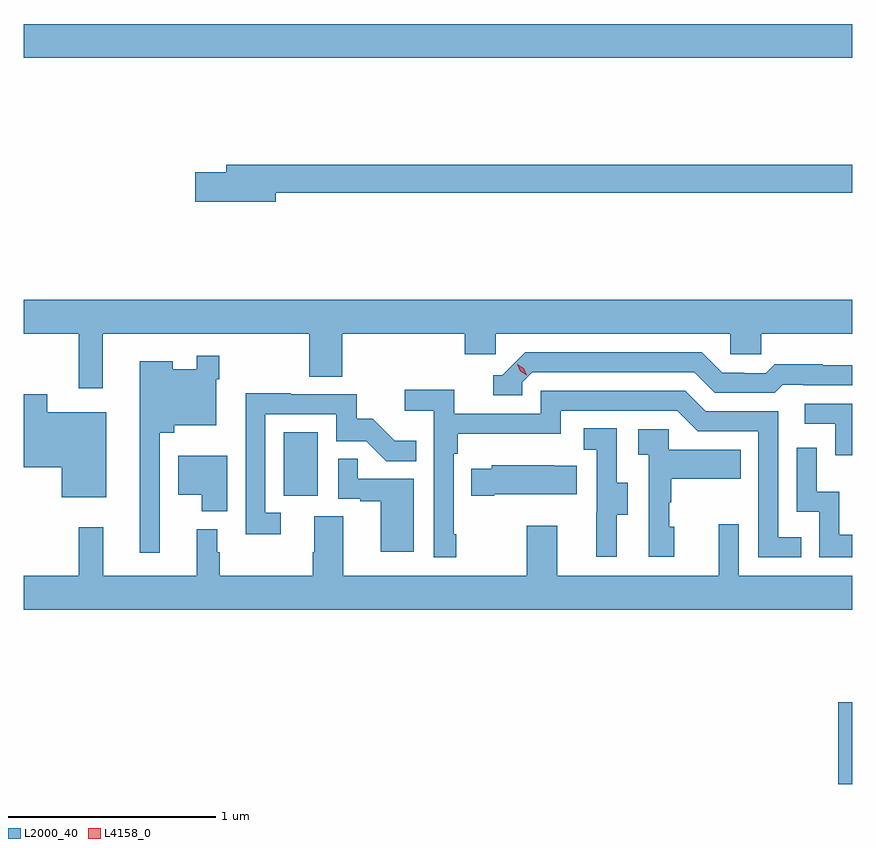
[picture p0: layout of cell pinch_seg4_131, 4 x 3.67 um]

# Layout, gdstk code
import gdstk
lib = gdstk.Library(unit=1e-6, precision=1e-09)
def R(c, l, rs):  # rectangles x0, y0, x1, y1
    for r in rs: c.add(gdstk.rectangle(r[:2], r[2:], *l))
def P(c, l, *ps):  # polygons
    for p in ps: c.add(gdstk.Polygon(p, *l))
L2000_40 = (2000, 40)
L4158_0 = (4158, 0)

pinch_seg4_131 = lib.new_cell('pinch_seg4_131')
R(pinch_seg4_131, L2000_40, [(1033.13,794.646,1033.198,795.04), (1030.454,796.038,1030.618,796.345), (1029.198,798.152,1033.198,798.316)])
P(pinch_seg4_131, L2000_40, [(1030.414,797.5),(1033.198,797.5),(1033.198,797.636),(1030.175,797.636),(1030.175,797.6),(1030.026,797.6),(1030.026,797.458),(1030.414,797.458)],
  [(1029.58,796.82),(1030.576,796.82),(1030.576,796.612),(1030.736,796.612),(1030.736,796.82),(1031.327,796.82),(1031.327,796.722),(1031.478,796.722),(1031.478,796.82),(1032.609,796.82),(1032.609,796.722),(1032.759,796.722),(1032.759,796.82),(1033.198,796.82),(1033.198,796.984),(1029.198,796.984),(1029.198,796.82),(1029.463,796.82),(1029.463,796.557),(1029.58,796.557)],
  [(1031.604,796.587),(1031.652,796.635),(1032.435,796.635),(1032.534,796.536),(1032.823,796.536),(1032.862,796.575),(1032.961,796.575),(1032.961,796.572),(1033.198,796.572),(1033.198,796.669),(1033.056,796.669),(1033.056,796.672),(1032.823,796.672),(1032.781,796.629),(1032.678,796.629),(1032.678,796.632),(1032.571,796.632),(1032.472,796.731),(1031.619,796.731),(1031.508,796.62),(1031.465,796.62),(1031.465,796.524),(1031.604,796.524)],
  [(1029.855,796.343),(1029.924,796.343),(1029.924,796.379),(1030.128,796.379),(1030.128,796.601),(1030.141,796.601),(1030.141,796.714),(1030.032,796.714),(1030.032,796.648),(1029.916,796.648),(1029.916,796.687),(1029.758,796.687),(1029.758,795.762),(1029.855,795.762)],
  [(1031.287,795.853),(1031.274,795.853),(1031.274,796.241),(1031.294,796.241),(1031.294,796.337),(1031.79,796.337),(1031.79,796.449),(1032.354,796.449),(1032.453,796.35),(1032.744,796.35),(1032.744,795.741),(1032.953,795.741),(1032.953,795.837),(1032.84,795.837),(1032.84,796.446),(1032.49,796.446),(1032.391,796.545),(1031.694,796.545),(1031.694,796.434),(1031.276,796.434),(1031.276,796.55),(1031.037,796.55),(1031.037,796.448),(1031.178,796.448),(1031.178,795.741),(1031.287,795.741)],
  [(1030.438,795.957),(1030.365,795.957),(1030.365,796.431),(1030.707,796.431),(1030.707,796.302),(1030.851,796.302),(1030.949,796.204),(1031.093,796.204),(1031.093,796.303),(1030.989,796.303),(1030.882,796.41),(1030.805,796.41),(1030.805,796.527),(1030.487,796.527),(1030.487,796.532),(1030.269,796.532),(1030.269,795.852),(1030.438,795.852)],
  [(1029.595,796.441),(1029.312,796.441),(1029.312,796.528),(1029.198,796.528),(1029.198,796.175),(1029.38,796.175),(1029.38,796.031),(1029.595,796.031)],
  [(1033.198,796.482),(1032.969,796.482),(1032.969,796.386),(1033.116,796.386),(1033.116,796.233),(1033.198,796.233)],
  [(1032.061,795.946),(1032.115,795.946),(1032.115,796.101),(1032.06,796.101),(1032.06,796.364),(1031.901,796.364),(1031.901,796.261),(1031.964,796.261),(1031.964,795.957),(1031.963,795.957),(1031.963,795.744),(1032.061,795.744)],
  [(1032.34,795.888),(1032.315,795.888),(1032.315,796.007),(1032.325,796.007),(1032.325,796.121),(1032.659,796.121),(1032.659,796.261),(1032.312,796.261),(1032.312,796.359),(1032.165,796.359),(1032.165,796.235),(1032.216,796.235),(1032.216,795.744),(1032.34,795.744)],
  [(1033.198,795.85),(1033.136,795.85),(1033.136,796.058),(1033.026,796.058),(1033.026,796.27),(1032.93,796.27),(1032.93,795.96),(1033.038,795.96),(1033.038,795.741),(1033.198,795.741)],
  [(1030.18,796.231),(1029.944,796.231),(1029.944,796.043),(1030.058,796.043),(1030.058,795.962),(1030.18,795.962)],
  [(1031.08,796.119),(1030.811,796.119),(1030.811,796.217),(1030.716,796.217),(1030.716,796.023),(1030.823,796.023),(1030.823,796.011),(1030.922,796.011),(1030.922,795.768),(1031.08,795.768)],
  [(1031.47,796.046),(1031.867,796.046),(1031.867,796.183),(1031.759,796.183),(1031.759,796.186),(1031.457,796.186),(1031.457,796.168),(1031.359,796.168),(1031.359,796.039),(1031.47,796.039)],
  [(1033.198,795.652),(1032.651,795.652),(1032.651,795.901),(1032.554,795.901),(1032.554,795.652),(1031.773,795.652),(1031.773,795.892),(1031.626,795.892),(1031.626,795.652),(1030.741,795.652),(1030.741,795.938),(1030.601,795.938),(1030.601,795.764),(1030.594,795.764),(1030.594,795.652),(1030.144,795.652),(1030.144,795.764),(1030.132,795.764),(1030.132,795.877),(1030.034,795.877),(1030.034,795.652),(1029.581,795.652),(1029.581,795.886),(1029.463,795.886),(1029.463,795.652),(1029.198,795.652),(1029.198,795.488),(1033.198,795.488)])
P(pinch_seg4_131, L4158_0, [(1031.627,796.62),(1031.596,796.639),(1031.58,796.672),(1031.58,796.672),(1031.58,796.672),(1031.611,796.653),(1031.627,796.62),(1031.627,796.62)])

lib.write_gds('pinch_seg4_131.gds')
